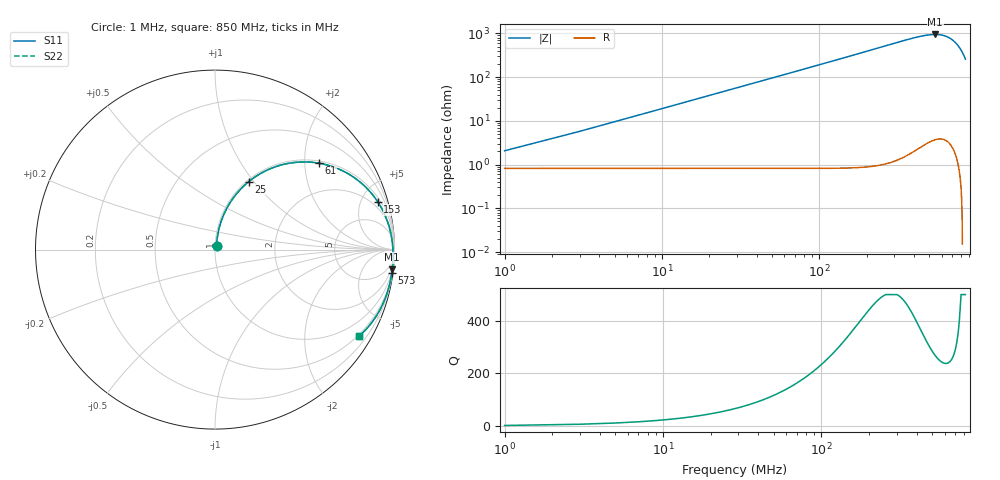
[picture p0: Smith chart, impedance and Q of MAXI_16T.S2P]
! Coilcraft 132-16SM_ Maxi Spring Air Core Inductor
! 28 May 2003
# MHZ S MA R 50
!Freq  MagS11  AngS11  MagS21  AngS21  MagS12  AngS12  MagS22  AngS22
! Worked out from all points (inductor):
!   426 points, 1 MHz to 850 MHz, reference 50 ohm
!   read as one part in series: L = 302 nH near 5 MHz
!   highest |Z| = 945 ohm at 547 MHz (marker M1)
!   S11 on the Smith chart (normalised r, x): 1 MHz: 1.02, +0.04; 25 MHz: 1.02, +0.95; 61 MHz: 1.06, +2.35; 153 MHz: 1.34, +6.72; 573 MHz: 1, -15; 850 MHz: 0.46, -3.53
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1  0.02038 65.5  0.9917 -1.1  0.9917 -1.1  0.02038 65.5
3  0.05659 78.5  0.9903 -3.3  0.9903 -3.3  0.05661 78.5
7  0.13 78.9  0.9835 -7.6  0.9835 -7.6  0.1301 78.9
11  0.2017 75.9  0.9715 -11.8  0.9715 -11.8  0.2017 75.9
17  0.3031 70.6  0.9452 -17.9  0.9452 -17.9  0.3032 70.6
25  0.4237 63.5  0.8985 -25.5  0.8985 -25.5  0.4238 63.5
41  0.6089 51.2  0.7868 -38.2  0.7868 -38.2  0.6091 51.2
61  0.7528 39.8  0.6529 -49.8  0.6529 -49.8  0.753 39.8
77  0.8224 33.1  0.5642 -56.6  0.5642 -56.6  0.8226 33.1
95  0.8726 27.4  0.4842 -62.3  0.4842 -62.3  0.8728 27.4
143  0.9381 17.7  0.3433 -72.1  0.3433 -72.1  0.9383 17.7
153  0.9454 16.3  0.3228 -73.5  0.3228 -73.5  0.9457 16.3
215  0.9718 9.9  0.2332 -80.0  0.2332 -80.0  0.972 9.9
285  0.9839 5.1  0.1757 -84.8  0.1757 -84.8  0.9842 5.1
427  0.9923 -1.5  0.1191 -91.3  0.1191 -91.3  0.9926 -1.5
547  0.9937 -6.3  0.1051 -96.1  0.1051 -96.1  0.994 -6.3
567  0.9937 -7.1  0.1055 -96.9  0.1055 -96.9  0.9939 -7.1
573  0.9936 -7.4  0.1057 -97.1  0.1057 -97.1  0.9938 -7.4
643  0.9923 -10.6  0.1158 -100.4  0.1158 -100.4  0.9925 -10.6
709  0.9887 -14.4  0.1413 -104.2  0.1413 -104.2  0.989 -14.4
795  0.9729 -22.0  0.2231 -112.0  0.2231 -112.0  0.9731 -22.0
850  0.9354 -31.1  0.3456 -121.2  0.3456 -121.2  0.9356 -31.1
